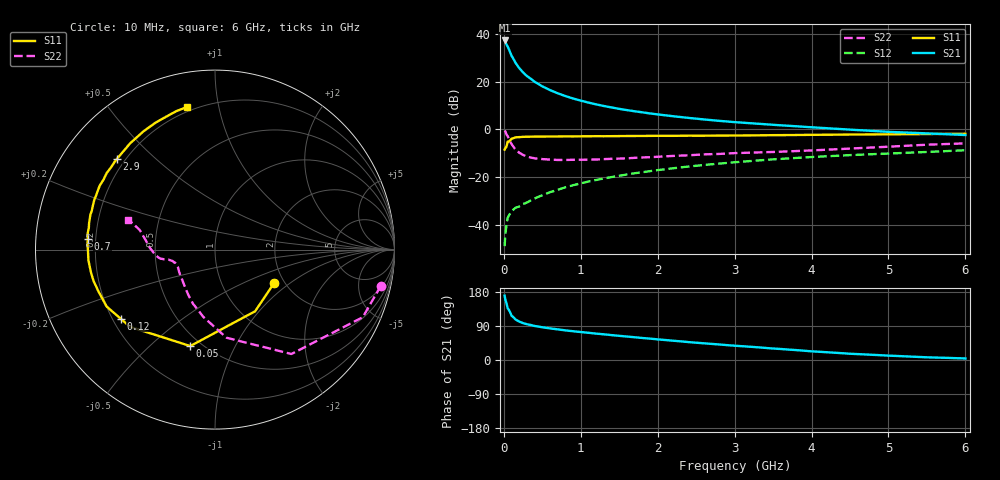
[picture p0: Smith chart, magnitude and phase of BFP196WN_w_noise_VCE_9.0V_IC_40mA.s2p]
! (c) 2017  Infineon Technologies AG, Munich
! Infineon Technologies  Discrete & RF Semiconductors
! BFP196WN
! VCE =  9.0 V,  IC =  40 mA
! Common Emitter S-Parameters:  Jan 2017
# GHz  S  MA  R  50
!  f  S11  S21  S12  S22
! GHz  MAG  ANG  MAG  ANG  MAG  ANG  MAG  ANG
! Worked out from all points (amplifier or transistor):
!   77 points, 10 MHz to 6 GHz, reference 50 ohm
!   highest |S21| = 37.2 dB at 10 MHz (marker M1)
!   |S21| within 3 dB of that: start of sweep to 55.87 MHz
!   unconditionally stable (mu >= 1): 727.5 MHz to 2.7 GHz
!   at 130 MHz: K = 0.46, MSG = 31.3 dB, |S12| = -33.4 dB
!   at 2.2 GHz: K = 1.02, MAG = 9.9 dB, |S12| = -16.3 dB
!   at 6 GHz: K = 0.89, MSG = 3.2 dB, |S12| = -8.7 dB
!   lowest NFmin = 1.16 dB at 450 MHz
!   S11 on the Smith chart (normalised r, x): 10 MHz: 1.77, -0.77; 50 MHz: 0.44, -0.68; 120 MHz: 0.23, -0.31; 700 MHz: 0.17, +0.04; 2.9 GHz: 0.17, +0.38; 6 GHz: 0.17, +0.81
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0.01  0.3786 -29.6  72.7 169.8  0.0036 76.9  0.9459 -12.3
0.02  0.41 -57.0  67.53 159.2  0.0064 76.6  0.9053 -24.6
0.05  0.5548 -104.4  53.97 136.3  0.0141 56.2  0.7208 -53.8
0.1  0.6395 -137.7  34.78 116.8  0.0193 47.1  0.4953 -82.5
0.12  0.6513 -143.8  30.77 113.7  0.0207 46.6  0.4452 -88.3
0.15  0.682 -152.3  24.99 107.2  0.0228 45.9  0.3813 -99.7
0.2  0.69 -160.4  19.21 101.4  0.0244 48.1  0.3253 -112.2
0.25  0.6991 -165.6  15.58 97.3  0.0274 49.9  0.2924 -120.6
0.3  0.7026 -169.6  13.09 94.4  0.0295 52.1  0.2693 -128.0
0.4  0.7078 -175.2  9.924 89.8  0.0358 57.7  0.2482 -137.5
0.5  0.7076 -179.0  7.96 86.4  0.042 60.5  0.2393 -144.6
0.6  0.7108 177.7  6.655 83.4  0.0485 62.3  0.2336 -149.4
0.7  0.7116 175.1  5.697 80.9  0.0544 64.2  0.2295 -152.9
0.9  0.7134 170.1  4.432 75.9  0.0679 65.3  0.2313 -157.6
1.1  0.7184 166.3  3.64 71.8  0.0811 66.3  0.233 -161.0
1.5  0.7246 159.2  2.691 63.8  0.1071 65.8  0.2447 -165.1
2.1  0.7336 149.5  1.973 52.7  0.1471 63.1  0.2731 -168.2
2.9  0.7438 137.4  1.465 39.3  0.1986 57.7  0.3129 -171.3
3.1  0.7468 134.4  1.385 36.4  0.2112 56.1  0.3225 -172.9
4.1  0.7715 119.9  1.084 21.7  0.269 48.1  0.3695 176.8
5.1  0.7913 109.1  0.875 10.7  0.3173 40.8  0.4433 164.7
6  0.8101 101.1  0.763 4.1  0.3663 34.8  0.5101 161.3
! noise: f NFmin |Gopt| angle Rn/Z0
0.45  1.16  0.5  -179  0.04
0.9  1.29  0.54  -173  0.05
1.9  2.21  0.68  -148  0.13
2.4  2.95  0.69  -141  0.26
